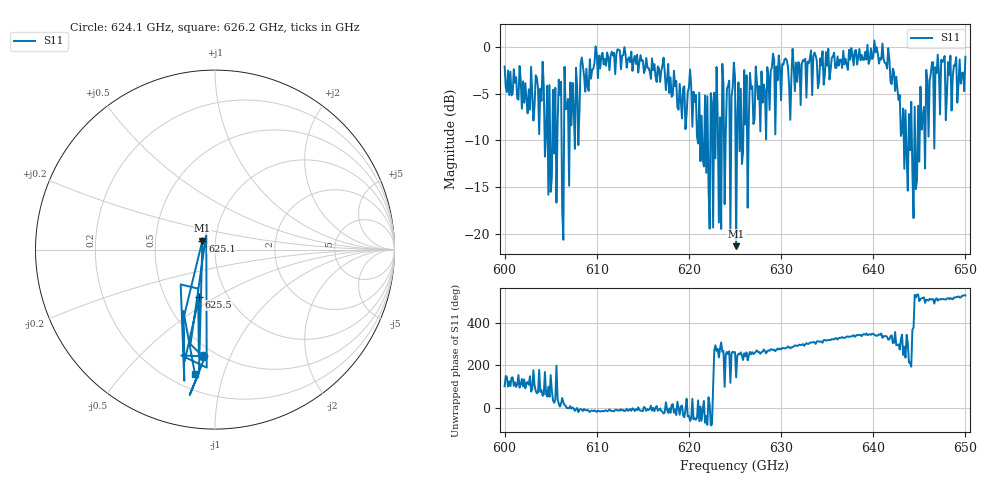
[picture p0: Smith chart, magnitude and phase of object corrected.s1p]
!Created with skrf (http://scikit-rf.org).
# GHz S MA R 50.0
!freq magS11 angS11
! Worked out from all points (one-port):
!   401 points, 600 GHz to 650 GHz, reference 50 ohm
!   lowest |S11| = -21.3 dB at 625.1 GHz (marker M1), VSWR 1.19, Z = 43.2 + j4.39 ohm
!   |S11| at or under -10 dB: 604.9399 GHz to 605.1779 GHz (238 MHz wide, 0.0393 % of centre); 606.1821 GHz to 606.4468 GHz (264.7 MHz wide, 0.0437 % of centre); 621.4464 GHz to 621.6707 GHz (224.3 MHz wide, 0.0361 % of centre)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
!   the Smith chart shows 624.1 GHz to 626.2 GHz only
!   S11 on the Smith chart (normalised r, x): 624.1 GHz: 0.43, -0.79; 625.1 GHz: 0.86, +0.09; 625.5 GHz: 0.74, -0.42; 626.2 GHz: 0.29, -0.81
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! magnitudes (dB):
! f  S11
! 600 GHz  -2.1
! 604 GHz  -5.8
! 604.9 GHz  -4.1
! 605.9 GHz  -3.5
! 606.2 GHz  -17.5
! 607.9 GHz  -4.3
! 608.5 GHz  -2.1
! 612.5 GHz  -0.4
! 618.8 GHz  -6.5
! 620.2 GHz  -4.3
! 622.2 GHz  -19.4
! 622.4 GHz  -5.0
! 622.8 GHz  -4.9
! 623.4 GHz  -7.5
! 624.1 GHz  -4.5
! 625 GHz  -3.2
! 625.1 GHz  -21.3
! 625.5 GHz  -11.1
! 626.2 GHz  -3.1
! 630.4 GHz  -1.4
! 631.2 GHz  -0.2
! 637.5 GHz  -1.4
! 641.5 GHz  -2.3
! 643.8 GHz  -15.4
! 644.5 GHz  -6.4
! 645.1 GHz  -4.3
! 646.2 GHz  -2.9
! 650 GHz  -1.1
